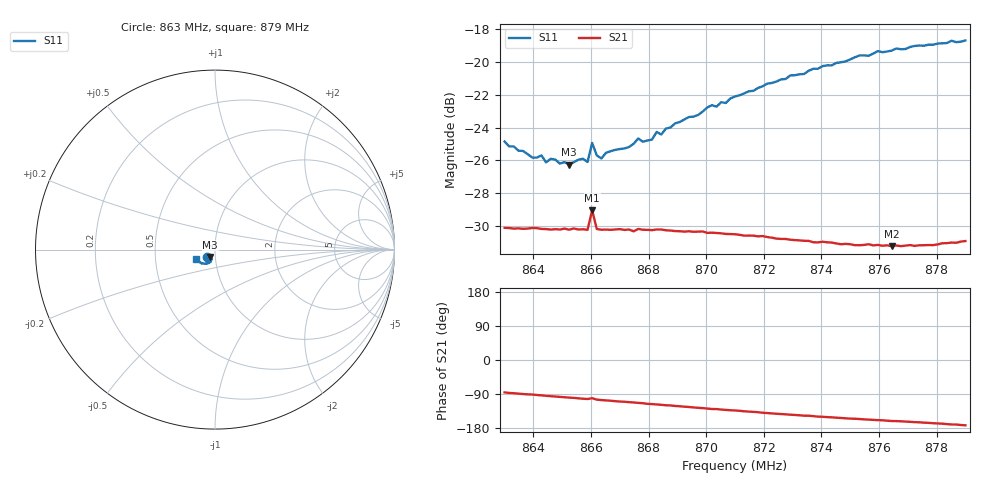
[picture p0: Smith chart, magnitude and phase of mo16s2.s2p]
# HZ S RI R 50
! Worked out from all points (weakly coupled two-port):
!   101 points, 863 MHz to 879 MHz, reference 50 ohm
!   highest |S21| = -29.05 dB at 866.04 MHz (marker M1); lowest = -31.2 dB at 876.44 MHz (marker M2)
!   lowest |S11| = -26.3 dB at 865.24 MHz (marker M3), VSWR 1.10, Z = 47.2 - j3.82 ohm
!   |S11| at or under -10 dB: start of sweep to end of sweep
!   S12 and S22 are empty: the file has one direction only
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8.63e8  -0.0418 -0.039  0.00248 -0.0311  0 0  0 0
8.6396e8  -0.0346 -0.0376  -0.000639 -0.0311  0 0  0 0
8.6428e8  -0.0328 -0.0402  -0.00181 -0.0309  0 0  0 0
8.6444e8  -0.0315 -0.0381  -0.0024 -0.0308  0 0  0 0
8.646e8  -0.034 -0.0376  -0.00292 -0.0307  0 0  0 0
8.6524e8  -0.0271 -0.0404  -0.00494 -0.0304  0 0  0 0
8.6572e8  -0.025 -0.044  -0.00651 -0.0302  0 0  0 0
8.6588e8  -0.0246 -0.043  -0.00689 -0.03  0 0  0 0
8.6604e8  -0.0221 -0.0522  -0.00664 -0.0346  0 0  0 0
8.662e8  -0.0253 -0.0453  -0.00775 -0.0299  0 0  0 0
8.6636e8  -0.0241 -0.0446  -0.00835 -0.0296  0 0  0 0
8.6732e8  -0.0218 -0.0505  -0.0111 -0.0287  0 0  0 0
8.6764e8  -0.0225 -0.0539  -0.0122 -0.0284  0 0  0 0
8.678e8  -0.021 -0.0531  -0.0125 -0.0281  0 0  0 0
8.6812e8  -0.0202 -0.0544  -0.0136 -0.0275  0 0  0 0
8.6828e8  -0.0219 -0.0571  -0.0141 -0.0274  0 0  0 0
8.6844e8  -0.021 -0.0563  -0.0146 -0.0271  0 0  0 0
8.6892e8  -0.0229 -0.0608  -0.0158 -0.026  0 0  0 0
8.71e8  -0.0321 -0.0716  -0.0204 -0.0217  0 0  0 0
8.7372e8  -0.0532 -0.0791  -0.0239 -0.0149  0 0  0 0
8.7644e8  -0.0808 -0.0722  -0.0259 -0.00891  0 0  0 0
8.79e8  -0.1045 -0.0511  -0.0282 -0.0038  0 0  0 0
